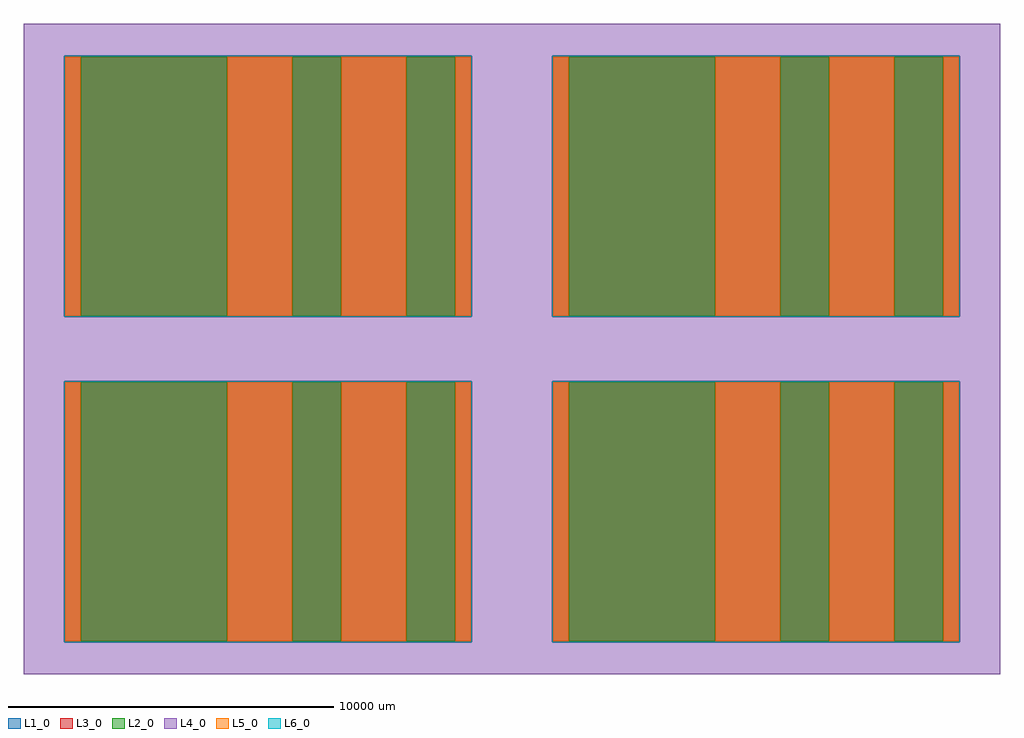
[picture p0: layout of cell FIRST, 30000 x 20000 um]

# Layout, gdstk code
import gdstk
lib = gdstk.Library(unit=1e-6, precision=1e-09)
def R(c, l, rs):  # rectangles x0, y0, x1, y1
    for r in rs: c.add(gdstk.rectangle(r[:2], r[2:], *l))
def P(c, l, *ps):  # polygons
    for p in ps: c.add(gdstk.Polygon(p, *l))
L1_0 = (1, 0)
L2_0 = (2, 0)
L3_0 = (3, 0)
L4_0 = (4, 0)
L5_0 = (5, 0)
L6_0 = (6, 0)

first = lib.new_cell('FIRST')
R(first, L1_0, [(-13750,-9000,-1250,-1000), (1250,-9000,13750,-1000), (-13750,1000,-1250,9000), (1250,1000,13750,9000)])
R(first, L2_0, [(-13250,-9000,-8750,-1000), (-6750,-9000,-5250,-1000), (-3250,-9000,-1750,-1000), (1750,-9000,6250,-1000), (8250,-9000,9750,-1000), (11750,-9000,13250,-1000), (-13250,1000,-8750,9000), (-6750,1000,-5250,9000), (-3250,1000,-1750,9000), (1750,1000,6250,9000), (8250,1000,9750,9000), (11750,1000,13250,9000)])
R(first, L3_0, [(-13740,-8990,-1260,-1010), (1260,-8990,13740,-1010), (-13740,1010,-1260,8990), (1260,1010,13740,8990)])
P(first, L4_0, [(15000,10000),(-15000,10000),(-15000,990),(-13760,990),(-13760,9010),(-1240,9010),(-1240,990),(1240,990),(1240,9010),(13760,9010),(13760,990),(1240,990),(-1240,990),(-13760,990),(-15000,990),(-15000,-9010),(-13760,-9010),(-13760,-990),(-1240,-990),(-1240,-9010),(1240,-9010),(1240,-990),(13760,-990),(13760,-9010),(1240,-9010),(-1240,-9010),(-13760,-9010),(-15000,-9010),(-15000,-10000),(15000,-10000)])
P(first, L5_0, [(-1240,990),(-1240,9010),(-13760,9010),(-13760,1000),(-13250,1000),(-13250,9000),(-8750,9000),(-8750,1000),(-6750,1000),(-6750,9000),(-5250,9000),(-5250,1000),(-3250,1000),(-3250,9000),(-1750,9000),(-1750,1000),(-3250,1000),(-5250,1000),(-6750,1000),(-8750,1000),(-13250,1000),(-13760,1000),(-13760,990)],
  [(13760,990),(13760,9010),(1240,9010),(1240,1000),(1750,1000),(1750,9000),(6250,9000),(6250,1000),(8250,1000),(8250,9000),(9750,9000),(9750,1000),(11750,1000),(11750,9000),(13250,9000),(13250,1000),(11750,1000),(9750,1000),(8250,1000),(6250,1000),(1750,1000),(1240,1000),(1240,990)],
  [(-1240,-9010),(-1240,-990),(-13760,-990),(-13760,-9000),(-13250,-9000),(-13250,-1000),(-8750,-1000),(-8750,-9000),(-6750,-9000),(-6750,-1000),(-5250,-1000),(-5250,-9000),(-3250,-9000),(-3250,-1000),(-1750,-1000),(-1750,-9000),(-3250,-9000),(-5250,-9000),(-6750,-9000),(-8750,-9000),(-13250,-9000),(-13760,-9000),(-13760,-9010)],
  [(13760,-9010),(13760,-990),(1240,-990),(1240,-9000),(1750,-9000),(1750,-1000),(6250,-1000),(6250,-9000),(8250,-9000),(8250,-1000),(9750,-1000),(9750,-9000),(11750,-9000),(11750,-1000),(13250,-1000),(13250,-9000),(11750,-9000),(9750,-9000),(8250,-9000),(6250,-9000),(1750,-9000),(1240,-9000),(1240,-9010)])
P(first, L6_0, [(-1240,990),(-1240,9010),(-13760,9010),(-13760,1000),(-13750,1000),(-13750,9000),(-1250,9000),(-1250,1000),(-13750,1000),(-13760,1000),(-13760,990)],
  [(13760,990),(13760,9010),(1240,9010),(1240,1000),(1250,1000),(1250,9000),(13750,9000),(13750,1000),(1250,1000),(1240,1000),(1240,990)],
  [(-1240,-9010),(-1240,-990),(-13760,-990),(-13760,-9000),(-13750,-9000),(-13750,-1000),(-1250,-1000),(-1250,-9000),(-13750,-9000),(-13760,-9000),(-13760,-9010)],
  [(13760,-9010),(13760,-990),(1240,-990),(1240,-9000),(1250,-9000),(1250,-1000),(13750,-1000),(13750,-9000),(1250,-9000),(1240,-9000),(1240,-9010)])

lib.write_gds('FIRST.gds')
